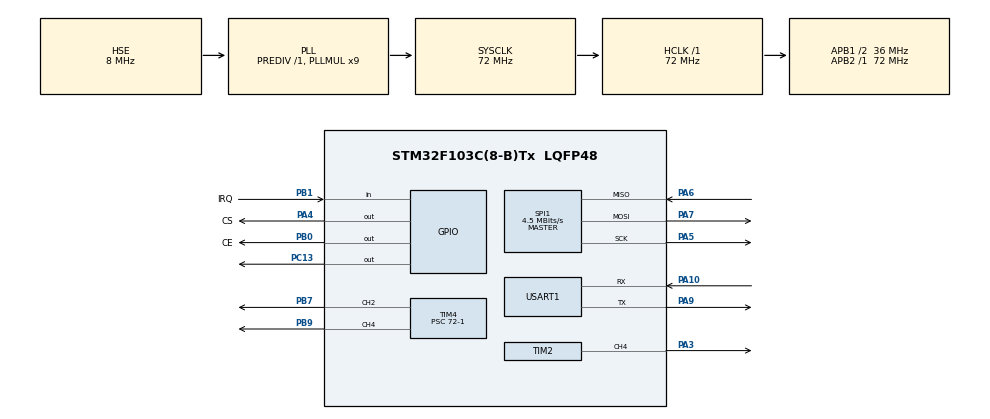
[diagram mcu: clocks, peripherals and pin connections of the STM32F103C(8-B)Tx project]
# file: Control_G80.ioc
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Dma.Request0=USART1_RX
Dma.Request1=USART1_TX
Dma.USART1_RX.0.Direction=DMA_PERIPH_TO_MEMORY
Dma.USART1_RX.0.Instance=DMA1_Channel5
Dma.USART1_RX.0.MemDataAlignment=DMA_MDATAALIGN_BYTE
Dma.USART1_RX.0.MemInc=DMA_MINC_ENABLE
Dma.USART1_RX.0.Mode=DMA_NORMAL
Dma.USART1_RX.0.PeriphDataAlignment=DMA_PDATAALIGN_BYTE
Dma.USART1_RX.0.PeriphInc=DMA_PINC_DISABLE
Dma.USART1_RX.0.Priority=DMA_PRIORITY_LOW
Dma.USART1_TX.1.Direction=DMA_MEMORY_TO_PERIPH
Dma.USART1_TX.1.Instance=DMA1_Channel4
Dma.USART1_TX.1.MemDataAlignment=DMA_MDATAALIGN_BYTE
Dma.USART1_TX.1.MemInc=DMA_MINC_ENABLE
Dma.USART1_TX.1.Mode=DMA_NORMAL
Dma.USART1_TX.1.PeriphDataAlignment=DMA_PDATAALIGN_BYTE
Dma.USART1_TX.1.PeriphInc=DMA_PINC_DISABLE
Dma.USART1_TX.1.Priority=DMA_PRIORITY_LOW
Mcu.Family=STM32F1
Mcu.Name=STM32F103C(8-B)Tx
Mcu.Package=LQFP48
NVIC.DMA1_Channel4_IRQn=true\:0\:0\:false\:false\:true\:false\:true\:true
NVIC.DMA1_Channel5_IRQn=true\:0\:0\:false\:false\:true\:false\:true\:true
NVIC.PriorityGroup=NVIC_PRIORITYGROUP_4
NVIC.TIM1_UP_IRQn=true\:0\:0\:false\:false\:true\:true\:true\:true
NVIC.TIM3_IRQn=true\:0\:0\:false\:false\:true\:true\:true\:true
NVIC.USART1_IRQn=true\:0\:0\:false\:false\:true\:true\:true\:true
PA10.Mode=Asynchronous
PA10.Signal=USART1_RX
PA13.Mode=Serial_Wire
PA13.Signal=SYS_JTMS-SWDIO
PA14.Mode=Serial_Wire
PA14.Signal=SYS_JTCK-SWCLK
PA3.Signal=S_TIM2_CH4
PA4.GPIO_Label=CS
PA4.Signal=GPIO_Output
PA5.Mode=Full_Duplex_Master
PA5.Signal=SPI1_SCK
PA6.Mode=Full_Duplex_Master
PA6.Signal=SPI1_MISO
PA7.Mode=Full_Duplex_Master
PA7.Signal=SPI1_MOSI
PA9.Mode=Asynchronous
PA9.Signal=USART1_TX
PB0.GPIO_Label=CE
PB0.GPIO_Speed=GPIO_SPEED_FREQ_HIGH
PB0.PinState=GPIO_PIN_SET
PB0.Signal=GPIO_Output
PB1.GPIO_Label=IRQ
PB1.GPIO_PuPd=GPIO_PULLUP
PB1.Signal=GPIO_Input
PB7.Signal=S_TIM4_CH2
PB9.Signal=S_TIM4_CH4
PC13-TAMPER-RTC.Signal=GPIO_Output
PD0-OSC_IN.Mode=HSE-External-Oscillator
PD0-OSC_IN.Signal=RCC_OSC_IN
PD1-OSC_OUT.Mode=HSE-External-Oscillator
PD1-OSC_OUT.Signal=RCC_OSC_OUT
ProjectManager.HeapSize=0x200
ProjectManager.StackSize=0x400
ProjectManager.TargetToolchain=MDK-ARM V5.32
RCC.AHBFreq_Value=72000000
RCC.APB1CLKDivider=RCC_HCLK_DIV2
RCC.APB1Freq_Value=36000000
RCC.APB1TimFreq_Value=72000000
RCC.APB2Freq_Value=72000000
RCC.APB2TimFreq_Value=72000000
RCC.HCLKFreq_Value=72000000
RCC.PLLMUL=RCC_PLL_MUL9
RCC.PLLSourceVirtual=RCC_PLLSOURCE_HSE
RCC.SYSCLKFreq_VALUE=72000000
RCC.SYSCLKSource=RCC_SYSCLKSOURCE_PLLCLK
RCC.USBFreq_Value=72000000
SH.S_TIM2_CH4.0=TIM2_CH4,PWM Generation4 CH4
SH.S_TIM4_CH2.0=TIM4_CH2,PWM Generation2 CH2
SH.S_TIM4_CH4.0=TIM4_CH4,PWM Generation4 CH4
SPI1.BaudRatePrescaler=SPI_BAUDRATEPRESCALER_16
SPI1.CalculateBaudRate=4.5 MBits/s
SPI1.Direction=SPI_DIRECTION_2LINES
SPI1.Mode=SPI_MODE_MASTER
SPI1.VirtualType=VM_MASTER
TIM1.Period=10000-1
TIM1.Prescaler=72-1
TIM2.AutoReloadPreload=TIM_AUTORELOAD_PRELOAD_ENABLE
TIM2.Channel-PWM\ Generation4\ CH4=TIM_CHANNEL_4
TIM2.Period=20000-1
TIM2.Prescaler=72-1
TIM3.AutoReloadPreload=TIM_AUTORELOAD_PRELOAD_ENABLE
TIM3.Period=10000-1
TIM3.Prescaler=72-1
TIM4.AutoReloadPreload=TIM_AUTORELOAD_PRELOAD_ENABLE
TIM4.Channel-PWM\ Generation2\ CH2=TIM_CHANNEL_2
TIM4.Channel-PWM\ Generation4\ CH4=TIM_CHANNEL_4
TIM4.Period=20000-1
TIM4.Prescaler=72-1
USART1.VirtualMode=VM_ASYNC
VP_TIM1_VS_ClockSourceINT.Mode=Internal
VP_TIM2_VS_ClockSourceINT.Mode=Internal
VP_TIM3_VS_ClockSourceINT.Mode=Internal
VP_TIM4_VS_ClockSourceINT.Mode=Internal
board=custom

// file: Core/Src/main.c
/* USER CODE BEGIN Header */
/**
  ******************************************************************************
  * @file           : main.c
  * @brief          : Main program body
  ******************************************************************************
  * @attention
  *
  * Copyright (c) 2025 STMicroelectronics.
  * All rights reserved.
  *
  * This software is licensed under terms that can be found in the LICENSE file
  * in the root directory of this software component.
  * If no LICENSE file comes with this software, it is provided AS-IS.
  *
  ******************************************************************************
  */
/* USER CODE END Header */
#include "main.h"
#include "dma.h"
#include "spi.h"
#include "tim.h"
#include "usart.h"
#include "gpio.h"

/* USER CODE BEGIN Includes */
#include "NRF24L01.h"
/* USER CODE END Includes */

/* USER CODE BEGIN PV */
extern uint8_t Flag;
extern uint8_t message[128];
extern int16_t SpeedTarget;
uint16_t SpeedSet;
uint32_t count_2 = 0;
uint32_t count_1 = 0;
uint32_t PWM_duty[7] = {100, 100, 100, 50, 50, 50, 50};
uint16_t test = 1000;
uint8_t RX_data[32];
uint8_t RX_status = 1;
uint16_t get_data[4];
uint8_t check;
/* USER CODE END PV */

void SystemClock_Config(void);

/* USER CODE BEGIN 0 */
void HAL_TIM_PeriodElapsedCallback(TIM_HandleTypeDef *htim)
{
  /* USER CODE BEGIN Callback 0 */
	if (htim->Instance == TIM3)
	{
		if(SpeedTarget == 800)
		{
			(&htim4)->Instance->CCR4 = SpeedTarget;
		}
		else if(SpeedTarget != 0 && SpeedTarget != 800)
		{
			count_1++;
			count_2++;
			SpeedSet = SpeedTarget;
			if(count_1 == 20)
			{
				(&htim4)->Instance->CCR4 = 0;
			}
			else if(count_1 == 500)
			{
				(&htim4)->Instance->CCR4 = SpeedSet;
				count_1 = 0;
			}

			if(count_2 == 18000)
			{
				SpeedTarget = 0;
				(&htim4)->Instance->CCR4 = SpeedTarget;
				count_2 = 0;
			}
		}
		else if(SpeedTarget == 0)
		{
			count_2 = 0;
		}
	}
}

void data_get()
{
	get_data[0] = (RX_data[0]<<8)+RX_data[1];//左摇杆左右值
	get_data[1] = (RX_data[2]<<8)+RX_data[3];//左摇杆上下值
	get_data[2] = (RX_data[4]<<8)+RX_data[5];//右摇杆左右值
	get_data[3] = (RX_data[6]<<8)+RX_data[7];//右摇杆上下值
}

void Set_G80_Speed()
{
	if(get_data[0] < 100)
	{
		SpeedTarget = 800;
	}
	else if(get_data[0] > 4000 && get_data[1] < 100)
	{
		SpeedTarget = 0;
	}
	else if(get_data[0] > 4000 && get_data[1] > 4000)
	{
		SpeedTarget = 1200;
	}
	else if(get_data[0] > 4000)
	{
		SpeedTarget = get_data[1] / 3900.0 * 400 + 801;
	}

//	__HAL_TIM_SET_COMPARE(&htim4, TIM_CHANNEL_4, SpeedTarget);
}
/* USER CODE END 0 */

int main(void)
{

  /* MCU Configuration--------------------------------------------------------*/

  /* Reset of all peripherals, Initializes the Flash interface and the Systick. */
  HAL_Init();

  /* Configure the system clock */
  SystemClock_Config();

  /* Initialize all configured peripherals */
  MX_GPIO_Init();
  MX_DMA_Init();
  MX_TIM2_Init();
  MX_USART1_UART_Init();
  MX_TIM3_Init();
  MX_TIM1_Init();
  MX_TIM4_Init();
  MX_SPI1_Init();
  /* USER CODE BEGIN 2 */

  //PWM
  HAL_TIM_Base_Start(&htim4);
  HAL_TIM_Base_MspInit(&htim4);
  HAL_TIM_PWM_Start(&htim4, TIM_CHANNEL_4);

  HAL_TIM_Base_MspInit(&htim3);
  HAL_TIM_Base_Start_IT(&htim3);

//  __HAL_TIM_SET_COMPARE(&htim4, TIM_CHANNEL_4, test);
  check = NRF24L01_Check();
  NRF24L01_RX_Mode();
  /* USER CODE END 2 */

  /* Infinite loop */
  /* USER CODE BEGIN WHILE */
  while (1)
  {
//	  if (Flag)
//	  {
//		__HAL_TIM_SET_COMPARE(&htim4, TIM_CHANNEL_4, SpeedTarget);
//		Flag = 0x00;
//	  }
	  RX_status = NRF24L01_RxPacket(RX_data);
	  if(!RX_status)
	  {
		data_get();
		Set_G80_Speed();
	  }
	  HAL_Delay(1);

    /* USER CODE END WHILE */

  }
}

void SystemClock_Config(void)
{
  RCC_OscInitTypeDef RCC_OscInitStruct = {0};
  RCC_ClkInitTypeDef RCC_ClkInitStruct = {0};

  /** Initializes the RCC Oscillators according to the specified parameters
  * in the RCC_OscInitTypeDef structure.
  */
  RCC_OscInitStruct.OscillatorType = RCC_OSCILLATORTYPE_HSE;
  RCC_OscInitStruct.HSEState = RCC_HSE_ON;
  RCC_OscInitStruct.HSEPredivValue = RCC_HSE_PREDIV_DIV1;
  RCC_OscInitStruct.HSIState = RCC_HSI_ON;
  RCC_OscInitStruct.PLL.PLLState = RCC_PLL_ON;
  RCC_OscInitStruct.PLL.PLLSource = RCC_PLLSOURCE_HSE;
  RCC_OscInitStruct.PLL.PLLMUL = RCC_PLL_MUL9;
  if (HAL_RCC_OscConfig(&RCC_OscInitStruct) != HAL_OK)
  {
    Error_Handler();
  }

  /** Initializes the CPU, AHB and APB buses clocks
  */
  RCC_ClkInitStruct.ClockType = RCC_CLOCKTYPE_HCLK|RCC_CLOCKTYPE_SYSCLK
                              |RCC_CLOCKTYPE_PCLK1|RCC_CLOCKTYPE_PCLK2;
  RCC_ClkInitStruct.SYSCLKSource = RCC_SYSCLKSOURCE_PLLCLK;
  RCC_ClkInitStruct.AHBCLKDivider = RCC_SYSCLK_DIV1;
  RCC_ClkInitStruct.APB1CLKDivider = RCC_HCLK_DIV2;
  RCC_ClkInitStruct.APB2CLKDivider = RCC_HCLK_DIV1;

  if (HAL_RCC_ClockConfig(&RCC_ClkInitStruct, FLASH_LATENCY_2) != HAL_OK)
  {
    Error_Handler();
  }
}

void Error_Handler(void)
{
  __disable_irq();
  while (1)
  {
  }
}
